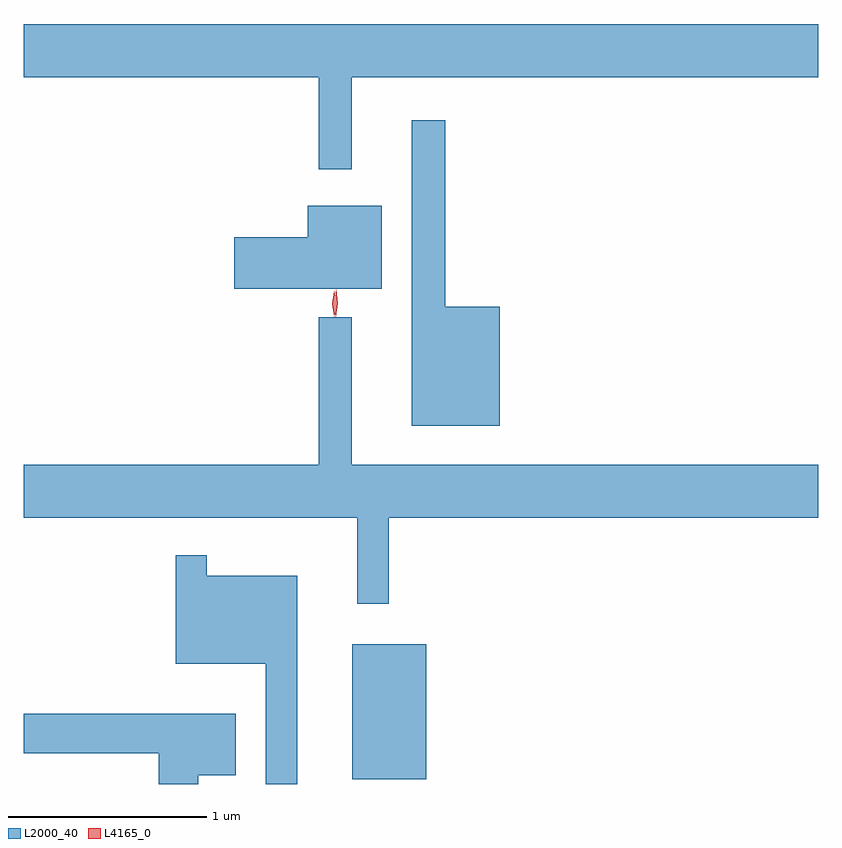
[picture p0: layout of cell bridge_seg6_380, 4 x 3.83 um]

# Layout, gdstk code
import gdstk
lib = gdstk.Library(unit=1e-6, precision=1e-09)
def R(c, l, rs):  # rectangles x0, y0, x1, y1
    for r in rs: c.add(gdstk.rectangle(r[:2], r[2:], *l))
def P(c, l, *ps):  # polygons
    for p in ps: c.add(gdstk.Polygon(p, *l))
L2000_40 = (2000, 40)
L4165_0 = (4165, 0)

bridge_seg6_380 = lib.new_cell('bridge_seg6_380')
R(bridge_seg6_380, L2000_40, [(924.071,1659.721,924.444,1660.399)])
P(bridge_seg6_380, L2000_40, [(924.069,1663.256),(926.417,1663.256),(926.417,1663.524),(922.417,1663.524),(922.417,1663.256),(923.901,1663.256),(923.901,1662.793),(924.069,1662.793)],
  [(924.814,1662.099),(924.539,1662.099),(924.539,1663.038),(924.371,1663.038),(924.371,1661.501),(924.814,1661.501)],
  [(924.219,1662.609),(923.846,1662.609),(923.846,1662.449),(923.476,1662.449),(923.476,1662.191),(924.219,1662.191)],
  [(924.254,1661.036),(926.417,1661.036),(926.417,1661.304),(924.069,1661.304),(924.069,1662.048),(923.901,1662.048),(923.901,1661.304),(922.417,1661.304),(922.417,1661.036),(924.096,1661.036),(924.096,1660.603),(924.254,1660.603)],
  [(923.794,1660.744),(923.339,1660.744),(923.339,1660.848),(923.181,1660.848),(923.181,1660.301),(923.636,1660.301),(923.636,1659.696),(923.794,1659.696)],
  [(923.294,1659.741),(923.484,1659.741),(923.484,1660.049),(922.417,1660.049),(922.417,1659.851),(923.096,1659.851),(923.096,1659.696),(923.294,1659.696)])
P(bridge_seg6_380, L4165_0, [(923.987,1662.05),(923.979,1662.118),(923.989,1662.185),(923.989,1662.186),(923.99,1662.185),(923.998,1662.118),(923.988,1662.05),(923.988,1662.05)],
  [(923.979,1662.053),(923.97,1662.116),(923.979,1662.179),(923.979,1662.18),(923.98,1662.179),(923.99,1662.116),(923.98,1662.053),(923.98,1662.053)])

lib.write_gds('bridge_seg6_380.gds')
